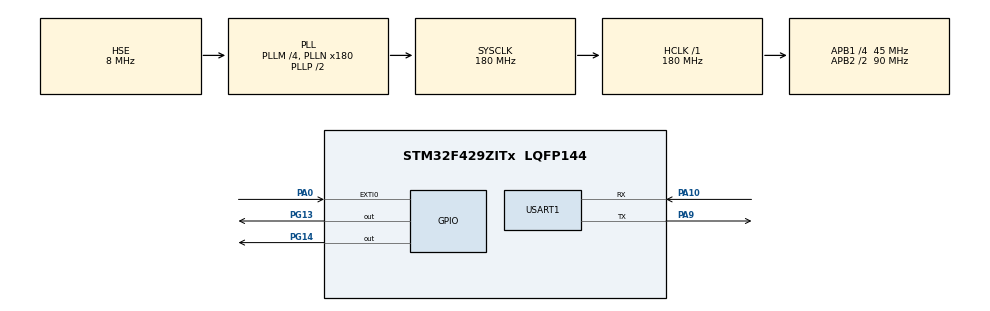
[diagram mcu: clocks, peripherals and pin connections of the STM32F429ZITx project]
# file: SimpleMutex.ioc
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FREERTOS.Tasks01=defaultTask,0,128,StartDefaultTask,Default,NULL,Dynamic,NULL,NULL
Mcu.Family=STM32F4
Mcu.Name=STM32F429ZITx
Mcu.Package=LQFP144
NVIC.EXTI0_IRQn=true\:6\:0\:true\:false\:true\:false\:true\:true\:true
NVIC.PriorityGroup=NVIC_PRIORITYGROUP_4
NVIC.TIM6_DAC_IRQn=true\:0\:0\:false\:false\:true\:false\:false\:true\:true
NVIC.TimeBase=TIM6_DAC_IRQn
NVIC.TimeBaseIP=TIM6
PA0/WKUP.Signal=GPXTI0
PA10.Mode=Asynchronous
PA10.Signal=USART1_RX
PA9.Mode=Asynchronous
PA9.Signal=USART1_TX
PG13.Signal=GPIO_Output
PG14.Signal=GPIO_Output
PH0/OSC_IN.Mode=HSE-External-Oscillator
PH0/OSC_IN.Signal=RCC_OSC_IN
PH1/OSC_OUT.Mode=HSE-External-Oscillator
PH1/OSC_OUT.Signal=RCC_OSC_OUT
ProjectManager.HeapSize=0x200
ProjectManager.StackSize=0x400
ProjectManager.TargetToolchain=STM32CubeIDE
RCC.48MHZClocksFreq_Value=51428571.428571425
RCC.AHBFreq_Value=180000000
RCC.APB1CLKDivider=RCC_HCLK_DIV4
RCC.APB1Freq_Value=45000000
RCC.APB1TimFreq_Value=90000000
RCC.APB2CLKDivider=RCC_HCLK_DIV2
RCC.APB2Freq_Value=90000000
RCC.APB2TimFreq_Value=180000000
RCC.CortexFreq_Value=180000000
RCC.HCLKFreq_Value=180000000
RCC.HSE_VALUE=8000000
RCC.HSI_VALUE=16000000
RCC.LSE_VALUE=32768
RCC.PLLM=4
RCC.PLLN=180
RCC.PLLQ=7
RCC.PLLSourceVirtual=RCC_PLLSOURCE_HSE
RCC.SYSCLKFreq_VALUE=180000000
RCC.SYSCLKSource=RCC_SYSCLKSOURCE_PLLCLK
RCC.VCOOutputFreq_Value=360000000
USART1.VirtualMode=VM_ASYNC
VP_FREERTOS_VS_CMSIS_V1.Mode=CMSIS_V1
VP_SYS_VS_tim6.Mode=TIM6
board=STM32F429I-DISC1

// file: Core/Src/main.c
/* USER CODE BEGIN Header */
/**
  ******************************************************************************
  * @file           : main.c
  * @brief          : Main program body
  ******************************************************************************
  * @attention
  *
  * Copyright (c) 2025 STMicroelectronics.
  * All rights reserved.
  *
  * This software is licensed under terms that can be found in the LICENSE file
  * in the root directory of this software component.
  * If no LICENSE file comes with this software, it is provided AS-IS.
  *
  ******************************************************************************
  */
/* USER CODE END Header */
#include "main.h"
//#include "cmsis_os.h"

/* USER CODE BEGIN Includes */
#include "FreeRTOS.h"
#include "task.h"
#include "timers.h"
#include "queue.h"
#include "semphr.h"
#include "event_groups.h"
/* USER CODE END Includes */

UART_HandleTypeDef huart1;

void SystemClock_Config(void);
static void MX_GPIO_Init(void);
static void MX_USART1_UART_Init(void);

/* USER CODE BEGIN 0 */

SemaphoreHandle_t SimpleMutex;

TaskHandle_t Task1Handle, Task2Handle;

void Task01(void* argument);
void Task02(void* argument);

void GPIO_TOGLE_01()
{
	xSemaphoreTake(SimpleMutex, portMAX_DELAY); // acquire the mutex

	HAL_GPIO_TogglePin(GPIOG, GPIO_PIN_13);
	vTaskDelay(pdMS_TO_TICKS(500));

	xSemaphoreGive(SimpleMutex); // release the mutex
}

void GPIO_TOGLE_02()
{
	xSemaphoreTake(SimpleMutex, portMAX_DELAY); // acquire the mutex

	HAL_GPIO_TogglePin(GPIOG, GPIO_PIN_14);
	vTaskDelay(pdMS_TO_TICKS(500));

	xSemaphoreGive(SimpleMutex); // release the mutex

}

/* USER CODE END 0 */

int main(void)
{

  /* MCU Configuration--------------------------------------------------------*/

  /* Reset of all peripherals, Initializes the Flash interface and the Systick. */
  HAL_Init();

  /* Configure the system clock */
  SystemClock_Config();

  /* Initialize all configured peripherals */
  MX_GPIO_Init();
  MX_USART1_UART_Init();

  /* USER CODE BEGIN 2 */

  SimpleMutex = xSemaphoreCreateMutex();
  if (SimpleMutex == NULL) {
		HAL_UART_Transmit(&huart1, (uint8_t *)"Mutex Creation Failed\r\n", 23, HAL_MAX_DELAY);
   }

   xTaskCreate(Task01, "Task01", 128, NULL, 2, &Task1Handle);
   xTaskCreate(Task02, "Task02", 128, NULL, 1, &Task2Handle);

   vTaskStartScheduler();

  /* USER CODE END 2 */

  /* Infinite loop */
  while (1)
  {

  }
}

void SystemClock_Config(void)
{
  RCC_OscInitTypeDef RCC_OscInitStruct = {0};
  RCC_ClkInitTypeDef RCC_ClkInitStruct = {0};

  /** Configure the main internal regulator output voltage
  */
  __HAL_RCC_PWR_CLK_ENABLE();
  __HAL_PWR_VOLTAGESCALING_CONFIG(PWR_REGULATOR_VOLTAGE_SCALE1);

  /** Initializes the RCC Oscillators according to the specified parameters
  * in the RCC_OscInitTypeDef structure.
  */
  RCC_OscInitStruct.OscillatorType = RCC_OSCILLATORTYPE_HSE;
  RCC_OscInitStruct.HSEState = RCC_HSE_ON;
  RCC_OscInitStruct.PLL.PLLState = RCC_PLL_ON;
  RCC_OscInitStruct.PLL.PLLSource = RCC_PLLSOURCE_HSE;
  RCC_OscInitStruct.PLL.PLLM = 4;
  RCC_OscInitStruct.PLL.PLLN = 180;
  RCC_OscInitStruct.PLL.PLLP = RCC_PLLP_DIV2;
  RCC_OscInitStruct.PLL.PLLQ = 7;
  if (HAL_RCC_OscConfig(&RCC_OscInitStruct) != HAL_OK)
  {
    Error_Handler();
  }

  /** Activate the Over-Drive mode
  */
  if (HAL_PWREx_EnableOverDrive() != HAL_OK)
  {
    Error_Handler();
  }

  /** Initializes the CPU, AHB and APB buses clocks
  */
  RCC_ClkInitStruct.ClockType = RCC_CLOCKTYPE_HCLK|RCC_CLOCKTYPE_SYSCLK
                              |RCC_CLOCKTYPE_PCLK1|RCC_CLOCKTYPE_PCLK2;
  RCC_ClkInitStruct.SYSCLKSource = RCC_SYSCLKSOURCE_PLLCLK;
  RCC_ClkInitStruct.AHBCLKDivider = RCC_SYSCLK_DIV1;
  RCC_ClkInitStruct.APB1CLKDivider = RCC_HCLK_DIV4;
  RCC_ClkInitStruct.APB2CLKDivider = RCC_HCLK_DIV2;

  if (HAL_RCC_ClockConfig(&RCC_ClkInitStruct, FLASH_LATENCY_5) != HAL_OK)
  {
    Error_Handler();
  }
}

static void MX_USART1_UART_Init(void)
{

  huart1.Instance = USART1;
  huart1.Init.BaudRate = 115200;
  huart1.Init.WordLength = UART_WORDLENGTH_8B;
  huart1.Init.StopBits = UART_STOPBITS_1;
  huart1.Init.Parity = UART_PARITY_NONE;
  huart1.Init.Mode = UART_MODE_TX_RX;
  huart1.Init.HwFlowCtl = UART_HWCONTROL_NONE;
  huart1.Init.OverSampling = UART_OVERSAMPLING_16;
  if (HAL_UART_Init(&huart1) != HAL_OK)
  {
    Error_Handler();
  }

}

static void MX_GPIO_Init(void)
{
  GPIO_InitTypeDef GPIO_InitStruct = {0};

  /* GPIO Ports Clock Enable */
  __HAL_RCC_GPIOH_CLK_ENABLE();
  __HAL_RCC_GPIOA_CLK_ENABLE();
  __HAL_RCC_GPIOG_CLK_ENABLE();

  /*Configure GPIO pin Output Level */
  HAL_GPIO_WritePin(GPIOG, GPIO_PIN_13|GPIO_PIN_14, GPIO_PIN_RESET);

  /*Configure GPIO pin : PA0 */
  GPIO_InitStruct.Pin = GPIO_PIN_0;
  GPIO_InitStruct.Mode = GPIO_MODE_IT_RISING;
  GPIO_InitStruct.Pull = GPIO_NOPULL;
  HAL_GPIO_Init(GPIOA, &GPIO_InitStruct);

  /*Configure GPIO pins : PG13 PG14 */
  GPIO_InitStruct.Pin = GPIO_PIN_13|GPIO_PIN_14;
  GPIO_InitStruct.Mode = GPIO_MODE_OUTPUT_PP;
  GPIO_InitStruct.Pull = GPIO_NOPULL;
  GPIO_InitStruct.Speed = GPIO_SPEED_FREQ_LOW;
  HAL_GPIO_Init(GPIOG, &GPIO_InitStruct);

  /* EXTI interrupt init*/
  HAL_NVIC_SetPriority(EXTI0_IRQn, 6, 0);
  HAL_NVIC_EnableIRQ(EXTI0_IRQn);

}

/* USER CODE BEGIN 4 */
void Task01(void* argument){
	while(1){
		GPIO_TOGLE_01();
		// vTaskDelay(pdMS_TO_TICKS(500)); // Add a delay to allow Task02 to run
	}
}

void Task02(void *argument) {
	while(1){
		GPIO_TOGLE_02();
	}
}
/* USER CODE END 4 */

void HAL_TIM_PeriodElapsedCallback(TIM_HandleTypeDef *htim)
{
  if (htim->Instance == TIM6)
  {
    HAL_IncTick();
  }
}

void Error_Handler(void)
{
  __disable_irq();
  while (1)
  {
  }
}
